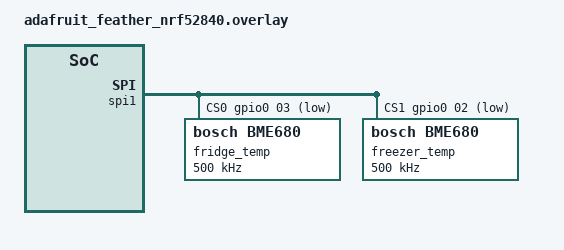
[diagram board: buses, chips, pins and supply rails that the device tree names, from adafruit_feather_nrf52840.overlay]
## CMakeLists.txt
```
# SPDX-License-Identifier: Apache-2.0

cmake_minimum_required(VERSION 3.20.0)

find_package(Zephyr REQUIRED HINTS $ENV{ZEPHYR_BASE})
project(hello_world)

target_sources(app PRIVATE src/consts.h src/main.c src/callbacks.c src/callbacks.h src/temperatureMonitor.c src/temperatureMonitor.h src/hardware.c src/hardware.h)
```

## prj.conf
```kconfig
CONFIG_SPI=y
CONFIG_SENSOR=y
CONFIG_CBPRINTF_FP_A_SUPPORT=y
```

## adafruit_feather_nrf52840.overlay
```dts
// To get started, press Ctrl+Space to bring up the completion menu and view the available nodes.

// You can also use the buttons in the sidebar to perform actions on nodes.
// Actions currently available include:

// * Enabling / disabling the node
// * Adding the bus to a bus
// * Removing the node
// * Connecting ADC channels

// For more help, browse the DeviceTree documentation at https://docs.zephyrproject.org/latest/guides/dts/index.html
// You can also visit the nRF DeviceTree extension documentation at https://nrfconnect.github.io/vscode-nrf-connect/devicetree/nrfdevicetree.html

&spi1 {
    cs-gpios = <&gpio0 03 GPIO_ACTIVE_LOW>,
               <&gpio0 02 GPIO_ACTIVE_LOW>;
    fridge_temp: bme680@0 {
        compatible = "bosch,bme680";
        reg = <0>;
        spi-max-frequency = <500000>;
    };

    freezer_temp: bme680@1 {
        compatible = "bosch,bme680";
        reg = <1>;
        spi-max-frequency = <500000>;
    };
};
```

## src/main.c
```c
#include "callbacks.h"
#include "hardware.h"
#include "consts.h"


K_TIMER_DEFINE(TEMPERATURE_READ_TIMER, callbacks__temperatureReadTimerHandler, NULL);

void main(void) {
	printk("Hello World! %s\n", CONFIG_BOARD);

	hardware__setup();
	
	k_timer_start(&TEMPERATURE_READ_TIMER, K_SECONDS(TIMER_TIMEOUT_SECONDS), K_SECONDS(TIMER_TIMEOUT_SECONDS));
}
```

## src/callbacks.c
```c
#include "callbacks.h"
#include "consts.h"
#include "temperatureMonitor.h"

#include <zephyr/kernel.h>

K_WORK_DEFINE(TEMPERATURE_READ_WORK_QUEUE, callbacks__temperatureReadHandler);
K_WORK_DEFINE(TIMER_RESET_WORK_QUEUE, callbacks__timerResetHandler);

K_MUTEX_DEFINE(ACCOUNTING_VARS_MUTEX);
static uint16_t read_count = 0;

void callbacks__temperatureReadTimerHandler(struct k_timer *dummy){
    k_work_submit(&TEMPERATURE_READ_WORK_QUEUE);
}

void callbacks__temperatureReadHandler(struct k_work *work) {
	temperatureMonitor__updateAverageTemperatures();

	k_mutex_lock(&ACCOUNTING_VARS_MUTEX, K_MSEC(100));
	read_count++;
	if (read_count >= AVERAGE_TEMPERATURE_PERIOD){
		read_count = 0;

		temperatureMonitor__checkForOverTemperature();
	}
	k_mutex_unlock(&ACCOUNTING_VARS_MUTEX);
}

void callbacks__buttonPressedHandler(const struct device *dev, struct gpio_callback *cb, uint32_t pins) {
	printk("Button pressed at %" PRIu32 "\n", k_cycle_get_32());
	k_work_submit(&TIMER_RESET_WORK_QUEUE);
}


void callbacks__timerResetHandler(struct k_work *work) {
	k_mutex_lock(&ACCOUNTING_VARS_MUTEX, K_MSEC(100));
    temperatureMonitor__resetTimers();
	read_count = 0;
	k_mutex_unlock(&ACCOUNTING_VARS_MUTEX);
	gpio_pin_set_dt(&OVER_TEMPERATURE_LED, false);
}
```

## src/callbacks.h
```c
#pragma once
#include <stdint.h>
#include <zephyr/kernel.h>
#include <zephyr/device.h>
#include <zephyr/drivers/gpio.h>

void callbacks__temperatureReadTimerHandler(struct k_timer *dummy);
void callbacks__temperatureReadHandler(struct k_work *work);
void callbacks__timerResetHandler(struct k_work *work);
void callbacks__buttonPressedHandler(const struct device *dev, struct gpio_callback *cb, uint32_t pins);
```

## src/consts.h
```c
#pragma once
#include <stdint.h>
#include <zephyr/device.h>
#include <zephyr/drivers/sensor.h>
#include <zephyr/drivers/gpio.h>

static const struct gpio_dt_spec TIMER_RESET_BUTTON = GPIO_DT_SPEC_GET(DT_NODELABEL(button0), gpios);
static const struct gpio_dt_spec OVER_TEMPERATURE_LED = GPIO_DT_SPEC_GET(DT_NODELABEL(led0), gpios);

static const double FRIDGE_TARGET_TEMPERATURE = 4.0;
static const double FREEZER_TARGET_TEMPERATURE = 0.0;
static const uint16_t TIMER_TIMEOUT_SECONDS = 1;
static const uint16_t AVERAGE_TEMPERATURE_PERIOD_SECONDS = 300;
static const double AVERAGE_TEMPERATURE_PERIOD = AVERAGE_TEMPERATURE_PERIOD_SECONDS / TIMER_TIMEOUT_SECONDS;
```

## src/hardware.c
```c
#include "hardware.h"
#include "consts.h"
#include "callbacks.h"

#include <stdbool.h>
#include <zephyr/kernel.h>
#include <zephyr/device.h>
#include <zephyr/drivers/sensor.h>
#include <zephyr/drivers/gpio.h>

static struct gpio_callback BUTTON_CALLBACK_DATA;

const struct device *FRIDGE_TEMPERATURE_SENSE_DEVICE;
const struct device *FREEZER_TEMPERATURE_SENSE_DEVICE;

bool verifyDevice(const struct device *dev) {
		if (dev == NULL) {
		/* No such node, or the node does not have status "okay". */
		printk("\nError: no device found.\n");
		return false;
	}

	if (!device_is_ready(dev)) {

		printk("\nError: Device \"%s\" is not ready; "
		       "check the driver initialization logs for errors.\n",
		       dev->name);
		return false;
	}

	printk("Device \"%s\" is ready\n", dev->name);
	return true;
}

void getFridgeBme680() {
	static const struct device *tmp = DEVICE_DT_GET(DT_NODELABEL(fridge_temp));
	if (verifyDevice(tmp)){
		FRIDGE_TEMPERATURE_SENSE_DEVICE = tmp;
	} else {
		k_panic();
	}
}

void getFreezerBme680() {
	static const struct device *tmp = DEVICE_DT_GET(DT_NODELABEL(freezer_temp));
	if (verifyDevice(tmp)){
		FREEZER_TEMPERATURE_SENSE_DEVICE = tmp;
	} else {
		k_panic();
	}
}

void getBme680s(){
	getFridgeBme680();
	getFreezerBme680();
}


void setupButton(){
	int ret;
	if (!device_is_ready(TIMER_RESET_BUTTON.port)) {
		printk("Error: button device %s is not ready\n",
		       TIMER_RESET_BUTTON.port->name);
		return;
	}

	ret = gpio_pin_configure_dt(&TIMER_RESET_BUTTON, GPIO_INPUT);
	if (ret != 0) {
		printk("Error %d: failed to configure %s pin %d\n",
		       ret, TIMER_RESET_BUTTON.port->name, TIMER_RESET_BUTTON.pin);
		return;
	}

	ret = gpio_pin_interrupt_configure_dt(&TIMER_RESET_BUTTON,
					      GPIO_INT_EDGE_TO_ACTIVE);
	if (ret != 0) {
		printk("Error %d: failed to configure interrupt on %s pin %d\n",
			ret, TIMER_RESET_BUTTON.port->name, TIMER_RESET_BUTTON.pin);
		return;
	}

	gpio_init_callback(&BUTTON_CALLBACK_DATA, callbacks__buttonPressedHandler, BIT(TIMER_RESET_BUTTON.pin));
	gpio_add_callback(TIMER_RESET_BUTTON.port, &BUTTON_CALLBACK_DATA);
	printk("Set up button at %s pin %d\n", TIMER_RESET_BUTTON.port->name, TIMER_RESET_BUTTON.pin);
}

void setupLed(){
	int ret;
	if (OVER_TEMPERATURE_LED.port && !device_is_ready(OVER_TEMPERATURE_LED.port)) {
		printk("Error %d: LED device %s is not ready; ignoring it\n",
		       ret, OVER_TEMPERATURE_LED.port->name);
	}
	if (OVER_TEMPERATURE_LED.port) {
		ret = gpio_pin_configure_dt(&OVER_TEMPERATURE_LED, GPIO_OUTPUT);
		if (ret != 0) {
			printk("Error %d: failed to configure LED device %s pin %d\n",
			       ret, OVER_TEMPERATURE_LED.port->name, OVER_TEMPERATURE_LED.pin);
		} else {
			printk("Set up LED at %s pin %d\n", OVER_TEMPERATURE_LED.port->name, OVER_TEMPERATURE_LED.pin);
		}
	}

}

void hardware__setup(){
	getBme680s();
	setupButton();
	setupLed();
}
```

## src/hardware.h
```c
#pragma once
extern const struct device *FRIDGE_TEMPERATURE_SENSE_DEVICE;
extern const struct device *FREEZER_TEMPERATURE_SENSE_DEVICE;

void hardware__setup();
```

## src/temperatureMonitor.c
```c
#include "temperatureMonitor.h"
#include "hardware.h"
#include "consts.h"

#include <zephyr/kernel.h>


K_MUTEX_DEFINE(AVERAGE_TEMPERATURE_MUTEX);
static double average_fridge_temperature = FRIDGE_TARGET_TEMPERATURE;
static double average_freezer_temperature = FREEZER_TARGET_TEMPERATURE;

K_MUTEX_DEFINE(OVER_TEMPERATURE_TIME_MUTEX);
static uint64_t fridge_time_over_temperature = 0;
static uint64_t freezer_time_over_temperature = 0;

void temperatureMonitor__updateAverageTemperatures() {
	struct sensor_value fridge_temp; 
	struct sensor_value freezer_temp;

	sensor_sample_fetch(FRIDGE_TEMPERATURE_SENSE_DEVICE);
	sensor_sample_fetch(FREEZER_TEMPERATURE_SENSE_DEVICE);
	sensor_channel_get(FRIDGE_TEMPERATURE_SENSE_DEVICE, SENSOR_CHAN_AMBIENT_TEMP, &fridge_temp);
	sensor_channel_get(FREEZER_TEMPERATURE_SENSE_DEVICE, SENSOR_CHAN_AMBIENT_TEMP, &freezer_temp);
	
	double fridge_temp_d = sensor_value_to_double(&fridge_temp);
	double freezer_temp_d = sensor_value_to_double(&freezer_temp);

	k_mutex_lock(&AVERAGE_TEMPERATURE_MUTEX, K_MSEC(100));
	average_fridge_temperature = ((average_fridge_temperature * (AVERAGE_TEMPERATURE_PERIOD - 1)) + fridge_temp_d) / AVERAGE_TEMPERATURE_PERIOD;
	average_freezer_temperature = ((average_freezer_temperature * (AVERAGE_TEMPERATURE_PERIOD - 1)) + freezer_temp_d) / AVERAGE_TEMPERATURE_PERIOD;
	k_mutex_unlock(&AVERAGE_TEMPERATURE_MUTEX);
}

void temperatureMonitor__checkForOverTemperature(){
	bool both_under_temp = true;
	k_mutex_lock(&AVERAGE_TEMPERATURE_MUTEX, K_MSEC(100));
	printk("fridge: avg: %f\n",  average_fridge_temperature);
	if (average_fridge_temperature > FRIDGE_TARGET_TEMPERATURE) {
		printk("fridge temp too high (target: %f)\n", FRIDGE_TARGET_TEMPERATURE);
        k_mutex_lock(&OVER_TEMPERATURE_TIME_MUTEX, K_MSEC(100));
		fridge_time_over_temperature += AVERAGE_TEMPERATURE_PERIOD_SECONDS;
        k_mutex_unlock(&OVER_TEMPERATURE_TIME_MUTEX);
		both_under_temp = false;
	} 

	printk("freezer: avg: %f\n", average_freezer_temperature);
	if (average_freezer_temperature > FREEZER_TARGET_TEMPERATURE) {	
		printk("freezer temp too high (target: %f)\n", FREEZER_TARGET_TEMPERATURE);
        k_mutex_lock(&OVER_TEMPERATURE_TIME_MUTEX, K_MSEC(100));
		freezer_time_over_temperature += AVERAGE_TEMPERATURE_PERIOD_SECONDS;
        k_mutex_unlock(&OVER_TEMPERATURE_TIME_MUTEX);
		both_under_temp = false;
	} 
	k_mutex_unlock(&AVERAGE_TEMPERATURE_MUTEX);

	gpio_pin_set_dt(&OVER_TEMPERATURE_LED, !both_under_temp);

	printk("fridge time over temp: %lld s, freezer time over temp: %lld s\n", fridge_time_over_temperature, freezer_time_over_temperature);
}

void temperatureMonitor__resetTimers(){

    k_mutex_lock(&OVER_TEMPERATURE_TIME_MUTEX, K_MSEC(100));
    fridge_time_over_temperature = 0;
    freezer_time_over_temperature = 0;
    k_mutex_unlock(&OVER_TEMPERATURE_TIME_MUTEX);
}

uint64_t temperatureMonitor__getFridgeTimeOverTemperature(){
	uint64_t tmp;
	k_mutex_lock(&OVER_TEMPERATURE_TIME_MUTEX, K_MSEC(100));
	tmp = fridge_time_over_temperature;
	k_mutex_unlock(&OVER_TEMPERATURE_TIME_MUTEX);
	return tmp;
}

uint64_t temperatureMonitor__getFreezerTimeOverTemperature(){
	uint64_t tmp;
	k_mutex_lock(&OVER_TEMPERATURE_TIME_MUTEX, K_MSEC(100));
	tmp = freezer_time_over_temperature;
	k_mutex_unlock(&OVER_TEMPERATURE_TIME_MUTEX);
	return tmp;
}

double temperatureMonitor__getFridgeTemperature(){
	double tmp;
	k_mutex_lock(&AVERAGE_TEMPERATURE_MUTEX, K_MSEC(100));
	tmp = average_fridge_temperature;
	k_mutex_unlock(&AVERAGE_TEMPERATURE_MUTEX);
	return tmp;
}

double temperatureMonitor__getFreezerTemperature(){
double tmp;
	k_mutex_lock(&AVERAGE_TEMPERATURE_MUTEX, K_MSEC(100));
	tmp = average_freezer_temperature;
	k_mutex_unlock(&AVERAGE_TEMPERATURE_MUTEX);
	return tmp;
}
```

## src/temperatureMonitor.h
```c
#pragma once
#include <stdint.h>

void temperatureMonitor__checkForOverTemperature();
void temperatureMonitor__updateAverageTemperatures();
void temperatureMonitor__resetTimers();

uint64_t temperatureMonitor__getFridgeTimeOverTemperature();
uint64_t temperatureMonitor__getFreezerTimeOverTemperature();
double temperatureMonitor__getFridgeTemperature();
double temperatureMonitor__getFreezerTemperature();
```
